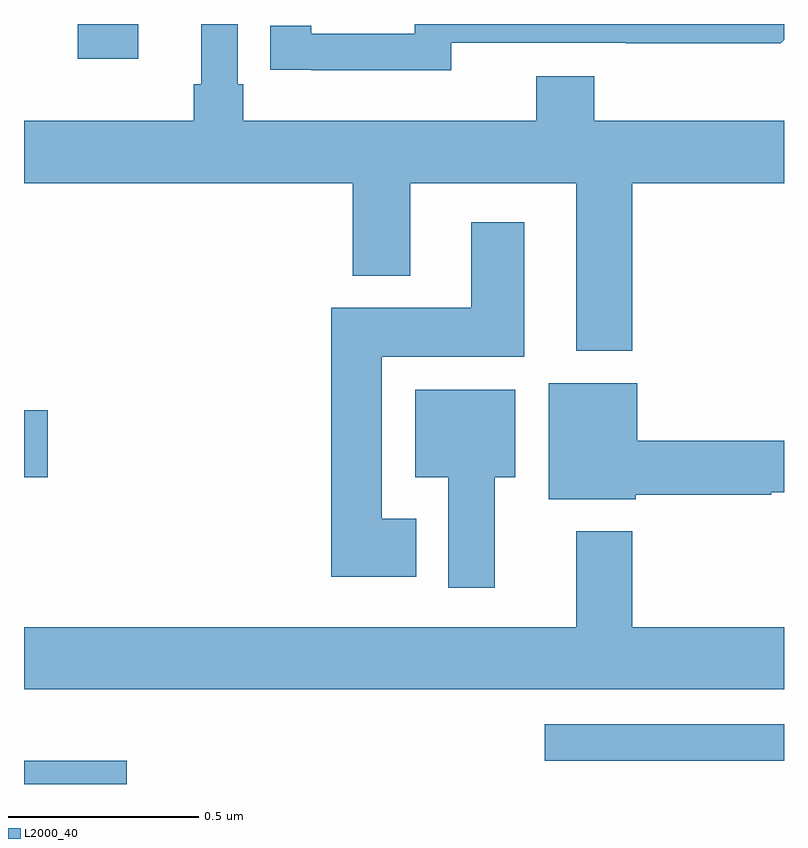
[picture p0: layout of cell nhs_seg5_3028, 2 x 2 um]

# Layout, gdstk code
import gdstk
lib = gdstk.Library(unit=1e-6, precision=1e-09)
def R(c, l, rs):  # rectangles x0, y0, x1, y1
    for r in rs: c.add(gdstk.rectangle(r[:2], r[2:], *l))
def P(c, l, *ps):  # polygons
    for p in ps: c.add(gdstk.Polygon(p, *l))
L2000_40 = (2000, 40)

nhs_seg5_3028 = lib.new_cell('nhs_seg5_3028')
R(nhs_seg5_3028, L2000_40, [(151,901.799,151.27,901.86), (152.37,901.86,153,901.956), (151,902.606,151.063,902.783), (151.142,903.708,151.3,903.799)])
P(nhs_seg5_3028, L2000_40, [(152.601,903.38),(153,903.38),(153,903.544),(152.501,903.544),(152.501,903.661),(152.348,903.661),(152.348,903.544),(151.577,903.544),(151.577,903.64),(151.563,903.64),(151.563,903.799),(151.466,903.799),(151.466,903.64),(151.447,903.64),(151.447,903.544),(151,903.544),(151,903.38),(151.865,903.38),(151.865,903.137),(152.017,903.137),(152.017,903.38),(152.453,903.38),(152.453,902.939),(152.601,902.939)],
  [(152.124,903.75),(152.584,903.75),(152.584,903.749),(152.992,903.749),(153,903.757),(153,903.799),(152.028,903.799),(152.028,903.774),(151.756,903.774),(151.756,903.794),(151.648,903.794),(151.648,903.678),(151.756,903.678),(151.756,903.677),(152.124,903.677)],
  [(152.032,902.497),(151.942,902.497),(151.942,902.924),(152.317,902.924),(152.317,903.277),(152.177,903.277),(152.177,903.052),(151.808,903.052),(151.808,902.345),(152.032,902.345)],
  [(152.61,902.56),(152.966,902.56),(152.966,902.567),(153,902.567),(153,902.702),(152.614,902.702),(152.614,902.854),(152.381,902.854),(152.381,902.549),(152.61,902.549)],
  [(152.239,902.606),(152.293,902.606),(152.293,902.836),(152.03,902.836),(152.03,902.606),(152.117,902.606),(152.117,902.316),(152.239,902.316)],
  [(153,902.212),(152.601,902.212),(152.601,902.464),(152.453,902.464),(152.453,902.212),(151,902.212),(151,902.048),(153,902.048)])

lib.write_gds('nhs_seg5_3028.gds')
